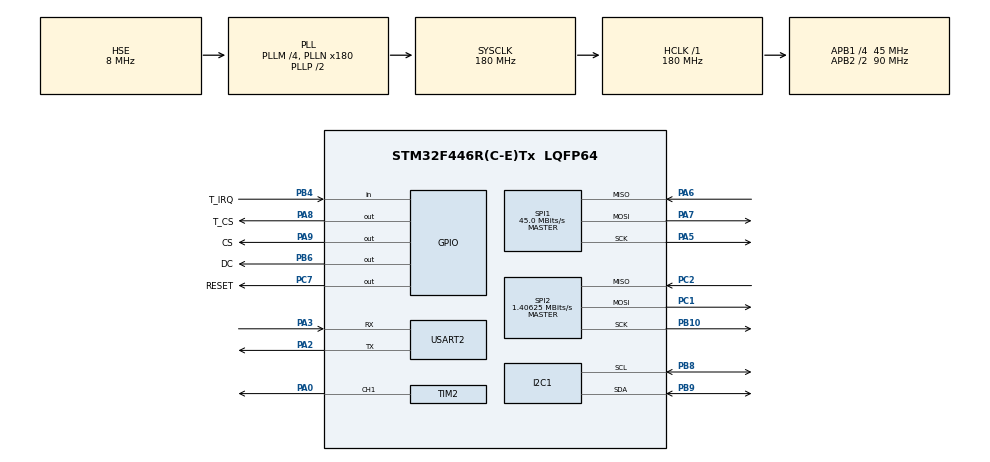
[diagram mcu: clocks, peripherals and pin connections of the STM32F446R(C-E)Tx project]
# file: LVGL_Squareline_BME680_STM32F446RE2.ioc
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Dma.Request0=SPI1_TX
Dma.SPI1_TX.0.Direction=DMA_MEMORY_TO_PERIPH
Dma.SPI1_TX.0.FIFOMode=DMA_FIFOMODE_DISABLE
Dma.SPI1_TX.0.Instance=DMA2_Stream3
Dma.SPI1_TX.0.MemDataAlignment=DMA_MDATAALIGN_BYTE
Dma.SPI1_TX.0.MemInc=DMA_MINC_ENABLE
Dma.SPI1_TX.0.Mode=DMA_NORMAL
Dma.SPI1_TX.0.PeriphDataAlignment=DMA_PDATAALIGN_BYTE
Dma.SPI1_TX.0.PeriphInc=DMA_PINC_DISABLE
Dma.SPI1_TX.0.Priority=DMA_PRIORITY_LOW
I2C1.I2C_Mode=I2C_Fast
Mcu.Family=STM32F4
Mcu.Name=STM32F446R(C-E)Tx
Mcu.Package=LQFP64
NVIC.DMA2_Stream3_IRQn=true\:5\:0\:false\:false\:true\:false\:true\:true
NVIC.PriorityGroup=NVIC_PRIORITYGROUP_4
NVIC.SPI1_IRQn=true\:5\:0\:false\:false\:true\:true\:true\:true
NVIC.SPI2_IRQn=true\:5\:0\:false\:false\:true\:true\:true\:true
NVIC.TIM2_IRQn=true\:0\:0\:false\:false\:true\:true\:true\:true
NVIC.USART2_IRQn=true\:0\:0\:false\:false\:true\:true\:true\:true
PA0-WKUP.Signal=S_TIM2_CH1_ETR
PA13.Mode=Serial_Wire
PA13.Signal=SYS_JTMS-SWDIO
PA14.Mode=Serial_Wire
PA14.Signal=SYS_JTCK-SWCLK
PA2.Mode=Asynchronous
PA2.Signal=USART2_TX
PA3.Mode=Asynchronous
PA3.Signal=USART2_RX
PA5.Mode=Full_Duplex_Master
PA5.Signal=SPI1_SCK
PA6.Mode=Full_Duplex_Master
PA6.Signal=SPI1_MISO
PA7.Mode=Full_Duplex_Master
PA7.Signal=SPI1_MOSI
PA8.GPIO_Label=T_CS
PA8.PinState=GPIO_PIN_SET
PA8.Signal=GPIO_Output
PA9.GPIO_Label=CS
PA9.PinState=GPIO_PIN_SET
PA9.Signal=GPIO_Output
PB10.Mode=Full_Duplex_Master
PB10.Signal=SPI2_SCK
PB4.GPIO_Label=T_IRQ
PB4.GPIO_PuPd=GPIO_PULLUP
PB4.Signal=GPIO_Input
PB6.GPIO_Label=DC
PB6.Signal=GPIO_Output
PB8.Mode=I2C
PB8.Signal=I2C1_SCL
PB9.Mode=I2C
PB9.Signal=I2C1_SDA
PC1.Mode=Full_Duplex_Master
PC1.Signal=SPI2_MOSI
PC2.Mode=Full_Duplex_Master
PC2.Signal=SPI2_MISO
PC7.GPIO_Label=RESET
PC7.Signal=GPIO_Output
PH0-OSC_IN.Mode=HSE-External-Oscillator
PH0-OSC_IN.Signal=RCC_OSC_IN
PH1-OSC_OUT.Mode=HSE-External-Oscillator
PH1-OSC_OUT.Signal=RCC_OSC_OUT
ProjectManager.HeapSize=0x200
ProjectManager.StackSize=0x400
ProjectManager.TargetToolchain=STM32CubeIDE
RCC.AHBFreq_Value=180000000
RCC.APB1CLKDivider=RCC_HCLK_DIV4
RCC.APB1Freq_Value=45000000
RCC.APB1TimFreq_Value=90000000
RCC.APB2CLKDivider=RCC_HCLK_DIV2
RCC.APB2Freq_Value=90000000
RCC.APB2TimFreq_Value=180000000
RCC.CortexFreq_Value=180000000
RCC.HCLKFreq_Value=180000000
RCC.HSE_VALUE=8000000
RCC.PLLM=4
RCC.PLLN=180
RCC.PLLSourceVirtual=RCC_PLLSOURCE_HSE
RCC.SYSCLKFreq_VALUE=180000000
RCC.SYSCLKSource=RCC_SYSCLKSOURCE_PLLCLK
RCC.USBFreq_Value=180000000
RCC.VCOOutputFreq_Value=360000000
SH.S_TIM2_CH1_ETR.0=TIM2_CH1,PWM Generation1 CH1
SPI1.CalculateBaudRate=45.0 MBits/s
SPI1.Direction=SPI_DIRECTION_2LINES
SPI1.Mode=SPI_MODE_MASTER
SPI1.VirtualType=VM_MASTER
SPI2.BaudRatePrescaler=SPI_BAUDRATEPRESCALER_32
SPI2.CalculateBaudRate=1.40625 MBits/s
SPI2.Direction=SPI_DIRECTION_2LINES
SPI2.Mode=SPI_MODE_MASTER
SPI2.VirtualType=VM_MASTER
TIM2.Channel-PWM\ Generation1\ CH1=TIM_CHANNEL_1
TIM2.Period=100-1
TIM2.Prescaler=90-1
USART2.VirtualMode=VM_ASYNC
board=custom

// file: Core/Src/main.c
/* USER CODE BEGIN Header */
/**
  ******************************************************************************
  * @file           : main.c
  * @brief          : Main program body
  ******************************************************************************
  * @attention
  *
  * Copyright (c) 2025 STMicroelectronics.
  * All rights reserved.
  *
  * This software is licensed under terms that can be found in the LICENSE file
  * in the root directory of this software component.
  * If no LICENSE file comes with this software, it is provided AS-IS.
  *
  ******************************************************************************
  */
/* USER CODE END Header */
#include "main.h"

/* USER CODE BEGIN Includes */
#include "ILI9341.h"
#include "lvgl.h"
#include "LCDController.h"
#include "TouchController.h"
#include "ui.h"
#include "bme68x.h"
#include <string.h>
#include <stdio.h>
#include "bme68xController.h"

/* USER CODE END Includes */

I2C_HandleTypeDef hi2c1;
SPI_HandleTypeDef hspi1;
SPI_HandleTypeDef hspi2;
DMA_HandleTypeDef hdma_spi1_tx;
TIM_HandleTypeDef htim2;
UART_HandleTypeDef huart2;

/* USER CODE BEGIN PV */
static BME68x_HandleTypeDef hbme;

/* USER CODE END PV */

void SystemClock_Config(void);
static void MX_GPIO_Init(void);
static void MX_DMA_Init(void);
static void MX_SPI1_Init(void);
static void MX_SPI2_Init(void);
static void MX_USART2_UART_Init(void);
static void MX_TIM2_Init(void);
static void MX_I2C1_Init(void);

/* USER CODE BEGIN 0 */
#define PRESSURE_HISTORY_LEN 20
static lv_chart_series_t *pressure_series = NULL;
static lv_coord_t pressure_history[PRESSURE_HISTORY_LEN] = {0};

void pressure_chart_init(void) {
    // Set chart Y range and point count (already set in SLS, but safe to repeat)
    lv_chart_set_range(ui_PressureChart, LV_CHART_AXIS_PRIMARY_Y, 950, 1050);
    lv_chart_set_point_count(ui_PressureChart, PRESSURE_HISTORY_LEN);

    // Add the series and attach the external data array
    pressure_series = lv_chart_add_series(ui_PressureChart, lv_color_hex(0x04F625), LV_CHART_AXIS_PRIMARY_Y);
    lv_chart_set_ext_y_array(ui_PressureChart, pressure_series, pressure_history);

    // Initialize with a typical value (e.g., 1013 hPa)
    for (int i = 0; i < PRESSURE_HISTORY_LEN; i++) pressure_history[i] = 1013;
    lv_chart_refresh(ui_PressureChart);
}

/* USER CODE END 0 */

int main(void)
{

  /* MCU Configuration--------------------------------------------------------*/

  /* Reset of all peripherals, Initializes the Flash interface and the Systick. */
  HAL_Init();

  /* Configure the system clock */
  SystemClock_Config();

  /* Initialize all configured peripherals */
  MX_GPIO_Init();
  MX_DMA_Init();
  MX_SPI1_Init();
  MX_SPI2_Init();
  MX_USART2_UART_Init();
  MX_TIM2_Init();
  MX_I2C1_Init();
  /* USER CODE BEGIN 2 */

  lv_init();
  lv_port_disp_init();

  TouchController_Init();
  /* Optional: call touch_calibrate() to calibrate this panel in RAM. */

  ui_init();

  lv_arc_set_range(ui_Arc1, 0, 50);      // Temperature arc: 0–50°C
  lv_arc_set_range(ui_HumidArc, 0, 100); // Humidity arc: 0–100% RH
  pressure_chart_init();

  if (HAL_TIM_PWM_Start(&htim2, TIM_CHANNEL_1) != HAL_OK) Error_Handler();

  // — Initialize the sensor over I2C1 at address 0x77 —
  if (BME68x_Init(&hbme, &hi2c1, BME68X_I2C_ADDR_HIGH) != BME68X_OK) {
    Error_Handler();
  }

  // — Configure OSRs, IIR filter and heater (forced‐mode) —
  // temp ×4, pres ×4, hum ×2, IIR3, 320 °C heater, 150 ms
  if (BME68x_Config(&hbme,
                    BME68X_OS_4X,
                    BME68X_OS_4X,
                    BME68X_OS_2X,
                    BME68X_FILTER_SIZE_3,
                    320,
                    150
                   ) != BME68X_OK) {
    Error_Handler();
  }

  /* USER CODE END 2 */

  /* Infinite loop */
  while (1)
  {

    /* USER CODE BEGIN 3 */
	  struct bme68x_data data;
	  uint8_t n_fields;

	  int8_t sensor_result = BME68x_ReadData(&hbme, &data, &n_fields);
	  if (sensor_result == BME68X_OK && n_fields) {

		// --- Temperature Card ---
		float temp_c = data.temperature;
		float temp_f = temp_c * 9.0f / 5.0f + 32.0f;
		char temp_str[16];
		snprintf(temp_str, sizeof(temp_str), "%.1f°C", temp_c);
		lv_label_set_text(ui_Label1, temp_str);
		char tempf_str[16];
		snprintf(tempf_str, sizeof(tempf_str), "%.1f°F", temp_f);
		lv_label_set_text(ui_FDegLabel, tempf_str);
		lv_arc_set_value(ui_Arc1, (int)(temp_c));
		// Color gradient: blue (≤20°C) to red (≥40°C)
		lv_color_t temp_color;
		if (temp_c <= 20.0f) temp_color = lv_color_hex(0x0000FF);
		else if (temp_c >= 40.0f) temp_color = lv_color_hex(0xFF0000);
		else {
			uint8_t r = (uint8_t)(255 * (temp_c - 20.0f) / 20.0f);
			uint8_t b = 255 - r;
			temp_color = lv_color_make(r, 0, b);
		}
		lv_obj_set_style_arc_color(ui_Arc1, temp_color, LV_PART_INDICATOR);

		// --- Humidity Card ---
		float hum_rh = data.humidity;
		char hum_str[16];
		snprintf(hum_str, sizeof(hum_str), "%.1f%%", hum_rh);
		lv_label_set_text(ui_Label2, hum_str);
		lv_arc_set_value(ui_HumidArc, (int)(hum_rh));
		// Color gradient: light blue (≤30%) to deep blue (≥80%)
		lv_color_t hum_color;
		if (hum_rh <= 30.0f) hum_color = lv_color_hex(0x00BFFF);
		else if (hum_rh >= 80.0f) hum_color = lv_color_hex(0x00008B);
		else {
			uint8_t b = 255 - (uint8_t)(127 * (hum_rh - 30.0f) / 50.0f);
			hum_color = lv_color_make(0, 191, b);
		}
		lv_obj_set_style_arc_color(ui_HumidArc, hum_color, LV_PART_INDICATOR);

		// --- Pressure Card & Chart ---
		float pres_hpa = data.pressure / 100.0f;
		char pres_str[16];
		snprintf(pres_str, sizeof(pres_str), "%.1f hPa", pres_hpa);
		lv_label_set_text(ui_PressLabel, pres_str);

		// Color alert for storms
		if (pres_hpa < 990.0f) {
			lv_obj_set_style_text_color(ui_PressLabel, lv_color_hex(0xFF0000), 0); // Red for low pressure
		} else {
			lv_obj_set_style_text_color(ui_PressLabel, lv_color_hex(0xFFFFFF), 0); // White for normal (on gray BG)
		}

		// Update the chart history
		lv_chart_set_next_value(ui_PressureChart, pressure_series, (int32_t)pres_hpa);

		// --- Air Resistance Card ---
		if ((data.status & (BME68X_GASM_VALID_MSK | BME68X_HEAT_STAB_MSK)) ==
		    (BME68X_GASM_VALID_MSK | BME68X_HEAT_STAB_MSK)) {
		float gas_kohm = data.gas_resistance / 1000.0f;
		char air_str[16];
		snprintf(air_str, sizeof(air_str), "%.1f kΩ", gas_kohm);
		lv_label_set_text(ui_AirResistanceOutputLabel, air_str);

		// Color code: green (good), yellow (fair), red (poor)
		lv_color_t air_color;
		if (gas_kohm > 50) air_color = lv_color_hex(0x00FF00);
		else if (gas_kohm > 10) air_color = lv_color_hex(0xFFFF00);
		else air_color = lv_color_hex(0xFF0000);
		lv_obj_set_style_text_color(ui_AirResistanceOutputLabel, air_color, LV_PART_MAIN | LV_STATE_DEFAULT);
		} else {
		    lv_label_set_text(ui_AirResistanceOutputLabel, "Warming up");
		}

	  } else if (sensor_result < BME68X_OK) {
		  printf("Failed to read data or no fields available.\r\n");
	  }

	  lv_timer_handler();
	  HAL_Delay(5);

  }
  /* USER CODE END 3 */
}

void SystemClock_Config(void)
{
  RCC_OscInitTypeDef RCC_OscInitStruct = {0};
  RCC_ClkInitTypeDef RCC_ClkInitStruct = {0};

  /** Configure the main internal regulator output voltage
  */
  __HAL_RCC_PWR_CLK_ENABLE();
  __HAL_PWR_VOLTAGESCALING_CONFIG(PWR_REGULATOR_VOLTAGE_SCALE1);

  /** Initializes the RCC Oscillators according to the specified parameters
  * in the RCC_OscInitTypeDef structure.
  */
  RCC_OscInitStruct.OscillatorType = RCC_OSCILLATORTYPE_HSE;
  RCC_OscInitStruct.HSEState = RCC_HSE_ON;
  RCC_OscInitStruct.PLL.PLLState = RCC_PLL_ON;
  RCC_OscInitStruct.PLL.PLLSource = RCC_PLLSOURCE_HSE;
  RCC_OscInitStruct.PLL.PLLM = 4;
  RCC_OscInitStruct.PLL.PLLN = 180;
  RCC_OscInitStruct.PLL.PLLP = RCC_PLLP_DIV2;
  RCC_OscInitStruct.PLL.PLLQ = 2;
  RCC_OscInitStruct.PLL.PLLR = 2;
  if (HAL_RCC_OscConfig(&RCC_OscInitStruct) != HAL_OK)
  {
    Error_Handler();
  }

  /** Activate the Over-Drive mode
  */
  if (HAL_PWREx_EnableOverDrive() != HAL_OK)
  {
    Error_Handler();
  }

  /** Initializes the CPU, AHB and APB buses clocks
  */
  RCC_ClkInitStruct.ClockType = RCC_CLOCKTYPE_HCLK|RCC_CLOCKTYPE_SYSCLK
                              |RCC_CLOCKTYPE_PCLK1|RCC_CLOCKTYPE_PCLK2;
  RCC_ClkInitStruct.SYSCLKSource = RCC_SYSCLKSOURCE_PLLCLK;
  RCC_ClkInitStruct.AHBCLKDivider = RCC_SYSCLK_DIV1;
  RCC_ClkInitStruct.APB1CLKDivider = RCC_HCLK_DIV4;
  RCC_ClkInitStruct.APB2CLKDivider = RCC_HCLK_DIV2;

  if (HAL_RCC_ClockConfig(&RCC_ClkInitStruct, FLASH_LATENCY_5) != HAL_OK)
  {
    Error_Handler();
  }
}

static void MX_SPI1_Init(void)
{

  /* SPI1 parameter configuration*/
  hspi1.Instance = SPI1;
  hspi1.Init.Mode = SPI_MODE_MASTER;
  hspi1.Init.Direction = SPI_DIRECTION_2LINES;
  hspi1.Init.DataSize = SPI_DATASIZE_8BIT;
  hspi1.Init.CLKPolarity = SPI_POLARITY_LOW;
  hspi1.Init.CLKPhase = SPI_PHASE_1EDGE;
  hspi1.Init.NSS = SPI_NSS_SOFT;
  hspi1.Init.BaudRatePrescaler = SPI_BAUDRATEPRESCALER_2;
  hspi1.Init.FirstBit = SPI_FIRSTBIT_MSB;
  hspi1.Init.TIMode = SPI_TIMODE_DISABLE;
  hspi1.Init.CRCCalculation = SPI_CRCCALCULATION_DISABLE;
  hspi1.Init.CRCPolynomial = 10;
  if (HAL_SPI_Init(&hspi1) != HAL_OK)
  {
    Error_Handler();
  }

}

static void MX_SPI2_Init(void)
{

  /* SPI2 parameter configuration*/
  hspi2.Instance = SPI2;
  hspi2.Init.Mode = SPI_MODE_MASTER;
  hspi2.Init.Direction = SPI_DIRECTION_2LINES;
  hspi2.Init.DataSize = SPI_DATASIZE_8BIT;
  hspi2.Init.CLKPolarity = SPI_POLARITY_LOW;
  hspi2.Init.CLKPhase = SPI_PHASE_1EDGE;
  hspi2.Init.NSS = SPI_NSS_SOFT;
  hspi2.Init.BaudRatePrescaler = SPI_BAUDRATEPRESCALER_32;
  hspi2.Init.FirstBit = SPI_FIRSTBIT_MSB;
  hspi2.Init.TIMode = SPI_TIMODE_DISABLE;
  hspi2.Init.CRCCalculation = SPI_CRCCALCULATION_DISABLE;
  hspi2.Init.CRCPolynomial = 10;
  if (HAL_SPI_Init(&hspi2) != HAL_OK)
  {
    Error_Handler();
  }

}

static void MX_TIM2_Init(void)
{

  TIM_MasterConfigTypeDef sMasterConfig = {0};
  TIM_OC_InitTypeDef sConfigOC = {0};

  htim2.Instance = TIM2;
  htim2.Init.Prescaler = 90-1;
  htim2.Init.CounterMode = TIM_COUNTERMODE_UP;
  htim2.Init.Period = 100-1;
  htim2.Init.ClockDivision = TIM_CLOCKDIVISION_DIV1;
  htim2.Init.AutoReloadPreload = TIM_AUTORELOAD_PRELOAD_DISABLE;
  if (HAL_TIM_PWM_Init(&htim2) != HAL_OK)
  {
    Error_Handler();
  }
  sMasterConfig.MasterOutputTrigger = TIM_TRGO_RESET;
  sMasterConfig.MasterSlaveMode = TIM_MASTERSLAVEMODE_DISABLE;
  if (HAL_TIMEx_MasterConfigSynchronization(&htim2, &sMasterConfig) != HAL_OK)
  {
    Error_Handler();
  }
  sConfigOC.OCMode = TIM_OCMODE_PWM1;
  sConfigOC.Pulse = 0;
  sConfigOC.OCPolarity = TIM_OCPOLARITY_HIGH;
  sConfigOC.OCFastMode = TIM_OCFAST_DISABLE;
  if (HAL_TIM_PWM_ConfigChannel(&htim2, &sConfigOC, TIM_CHANNEL_1) != HAL_OK)
  {
    Error_Handler();
  }
  HAL_TIM_MspPostInit(&htim2);

}

static void MX_USART2_UART_Init(void)
{

  huart2.Instance = USART2;
  huart2.Init.BaudRate = 115200;
  huart2.Init.WordLength = UART_WORDLENGTH_8B;
  huart2.Init.StopBits = UART_STOPBITS_1;
  huart2.Init.Parity = UART_PARITY_NONE;
  huart2.Init.Mode = UART_MODE_TX_RX;
  huart2.Init.HwFlowCtl = UART_HWCONTROL_NONE;
  huart2.Init.OverSampling = UART_OVERSAMPLING_16;
  if (HAL_UART_Init(&huart2) != HAL_OK)
  {
    Error_Handler();
  }

}

static void MX_DMA_Init(void)
{

  /* DMA controller clock enable */
  __HAL_RCC_DMA2_CLK_ENABLE();

  /* DMA interrupt init */
  /* DMA2_Stream3_IRQn interrupt configuration */
  HAL_NVIC_SetPriority(DMA2_Stream3_IRQn, 5, 0);
  HAL_NVIC_EnableIRQ(DMA2_Stream3_IRQn);

}

static void MX_GPIO_Init(void)
{
  GPIO_InitTypeDef GPIO_InitStruct = {0};

  /* GPIO Ports Clock Enable */
  __HAL_RCC_GPIOH_CLK_ENABLE();
  __HAL_RCC_GPIOC_CLK_ENABLE();
  __HAL_RCC_GPIOA_CLK_ENABLE();
  __HAL_RCC_GPIOB_CLK_ENABLE();

  /*Configure GPIO pin Output Level */
  HAL_GPIO_WritePin(RESET_GPIO_Port, RESET_Pin, GPIO_PIN_RESET);

  /*Configure GPIO pin Output Level */
  HAL_GPIO_WritePin(GPIOA, T_CS_Pin|CS_Pin, GPIO_PIN_SET);

  /*Configure GPIO pin Output Level */
  HAL_GPIO_WritePin(DC_GPIO_Port, DC_Pin, GPIO_PIN_RESET);

  /*Configure GPIO pin : RESET_Pin */
  GPIO_InitStruct.Pin = RESET_Pin;
  GPIO_InitStruct.Mode = GPIO_MODE_OUTPUT_PP;
  GPIO_InitStruct.Pull = GPIO_NOPULL;
  GPIO_InitStruct.Speed = GPIO_SPEED_FREQ_LOW;
  HAL_GPIO_Init(RESET_GPIO_Port, &GPIO_InitStruct);

  /*Configure GPIO pins : T_CS_Pin CS_Pin */
  GPIO_InitStruct.Pin = T_CS_Pin|CS_Pin;
  GPIO_InitStruct.Mode = GPIO_MODE_OUTPUT_PP;
  GPIO_InitStruct.Pull = GPIO_NOPULL;
  GPIO_InitStruct.Speed = GPIO_SPEED_FREQ_LOW;
  HAL_GPIO_Init(GPIOA, &GPIO_InitStruct);

  /*Configure GPIO pin : T_IRQ_Pin */
  GPIO_InitStruct.Pin = T_IRQ_Pin;
  GPIO_InitStruct.Mode = GPIO_MODE_INPUT;
  GPIO_InitStruct.Pull = GPIO_PULLUP;
  HAL_GPIO_Init(T_IRQ_GPIO_Port, &GPIO_InitStruct);

  /*Configure GPIO pin : DC_Pin */
  GPIO_InitStruct.Pin = DC_Pin;
  GPIO_InitStruct.Mode = GPIO_MODE_OUTPUT_PP;
  GPIO_InitStruct.Pull = GPIO_NOPULL;
  GPIO_InitStruct.Speed = GPIO_SPEED_FREQ_LOW;
  HAL_GPIO_Init(DC_GPIO_Port, &GPIO_InitStruct);

  /* EXTI interrupt init*/
  /* Touch uses pressure polling; no PENIRQ interrupt is needed. */

}

static void MX_I2C1_Init(void)
{

  hi2c1.Instance = I2C1;
  hi2c1.Init.ClockSpeed = 400000;
  hi2c1.Init.DutyCycle = I2C_DUTYCYCLE_2;
  hi2c1.Init.OwnAddress1 = 0;
  hi2c1.Init.AddressingMode = I2C_ADDRESSINGMODE_7BIT;
  hi2c1.Init.DualAddressMode = I2C_DUALADDRESS_DISABLE;
  hi2c1.Init.OwnAddress2 = 0;
  hi2c1.Init.GeneralCallMode = I2C_GENERALCALL_DISABLE;
  hi2c1.Init.NoStretchMode = I2C_NOSTRETCH_DISABLE;
  if (HAL_I2C_Init(&hi2c1) != HAL_OK)
  {
    Error_Handler();
  }

}

void Error_Handler(void)
{
  __disable_irq();
  while (1)
  {
  }
}
